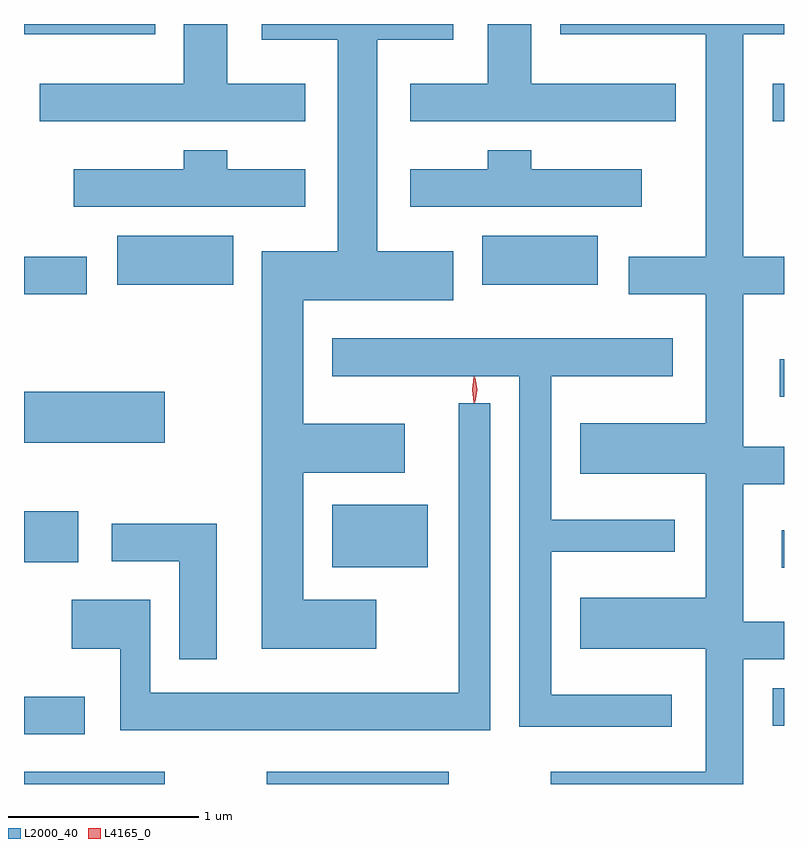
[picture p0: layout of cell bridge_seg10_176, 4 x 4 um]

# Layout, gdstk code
import gdstk
lib = gdstk.Library(unit=1e-6, precision=1e-09)
def R(c, l, rs):  # rectangles x0, y0, x1, y1
    for r in rs: c.add(gdstk.rectangle(r[:2], r[2:], *l))
def P(c, l, *ps):  # polygons
    for p in ps: c.add(gdstk.Polygon(p, *l))
L2000_40 = (2000, 40)
L4165_0 = (4165, 0)

bridge_seg10_176 = lib.new_cell('bridge_seg10_176')
R(bridge_seg10_176, L2000_40, [(1846.544,2140.169,1847.284,2140.234), (1847.821,2140.169,1848.779,2140.234), (1846.544,2140.431,1846.864,2140.629), (1850.486,2140.476,1850.544,2140.674), (1850.531,2141.306,1850.544,2141.504), (1848.166,2141.311,1848.669,2141.639), (1846.544,2141.336,1846.829,2141.604), (1846.544,2141.966,1847.284,2142.234), (1850.521,2142.206,1850.544,2142.404), (1846.544,2142.746,1846.874,2142.944), (1847.036,2142.796,1847.644,2143.054), (1848.956,2142.796,1849.564,2143.054), (1850.486,2143.656,1850.544,2143.854), (1846.544,2144.116,1847.234,2144.169)])
P(bridge_seg10_176, L2000_40, [(1849.366,2144.116),(1850.131,2144.116),(1850.131,2142.944),(1849.726,2142.944),(1849.726,2142.746),(1850.131,2142.746),(1850.131,2142.069),(1849.471,2142.069),(1849.471,2141.801),(1850.131,2141.801),(1850.131,2141.149),(1849.471,2141.149),(1849.471,2140.881),(1850.131,2140.881),(1850.131,2140.234),(1849.316,2140.234),(1849.316,2140.169),(1850.329,2140.169),(1850.329,2140.826),(1850.544,2140.826),(1850.544,2141.024),(1850.329,2141.024),(1850.329,2141.746),(1850.544,2141.746),(1850.544,2141.944),(1850.329,2141.944),(1850.329,2142.746),(1850.544,2142.746),(1850.544,2142.944),(1850.329,2142.944),(1850.329,2144.116),(1850.544,2144.116),(1850.544,2144.169),(1849.366,2144.169)],
  [(1848.399,2141.139),(1848.014,2141.139),(1848.014,2141.806),(1848.549,2141.806),(1848.549,2142.064),(1848.014,2142.064),(1848.014,2142.716),(1848.804,2142.716),(1848.804,2142.974),(1848.404,2142.974),(1848.404,2144.086),(1848.804,2144.086),(1848.804,2144.169),(1847.796,2144.169),(1847.796,2144.086),(1848.196,2144.086),(1848.196,2142.974),(1847.796,2142.974),(1847.796,2140.881),(1848.399,2140.881)],
  [(1849.974,2143.854),(1849.214,2143.854),(1849.214,2144.169),(1848.986,2144.169),(1848.986,2143.854),(1848.576,2143.854),(1848.576,2143.656),(1849.974,2143.656)],
  [(1848.024,2143.854),(1847.614,2143.854),(1847.614,2144.169),(1847.386,2144.169),(1847.386,2143.854),(1846.626,2143.854),(1846.626,2143.656),(1848.024,2143.656)],
  [(1848.024,2143.404),(1847.614,2143.404),(1847.614,2143.504),(1847.386,2143.504),(1847.386,2143.404),(1846.806,2143.404),(1846.806,2143.206),(1848.024,2143.206)],
  [(1849.794,2143.404),(1849.214,2143.404),(1849.214,2143.504),(1848.986,2143.504),(1848.986,2143.404),(1848.576,2143.404),(1848.576,2143.206),(1849.794,2143.206)],
  [(1849.953,2140.639),(1849.319,2140.639),(1849.319,2141.391),(1849.968,2141.391),(1849.968,2141.559),(1849.319,2141.559),(1849.319,2142.316),(1849.959,2142.316),(1849.959,2142.514),(1848.166,2142.514),(1848.166,2142.316),(1849.151,2142.316),(1849.151,2140.471),(1849.953,2140.471)],
  [(1848.999,2142.173),(1848.831,2142.173),(1848.831,2140.649),(1847.209,2140.649),(1847.209,2141.139),(1846.796,2141.139),(1846.796,2140.881),(1847.051,2140.881),(1847.051,2140.451),(1848.999,2140.451)],
  [(1847.559,2141.539),(1847.006,2141.539),(1847.006,2141.341),(1847.361,2141.341),(1847.361,2140.826),(1847.559,2140.826)])
P(bridge_seg10_176, L4165_0, [(1848.913,2142.174),(1848.912,2142.175),(1848.903,2142.244),(1848.912,2142.313),(1848.913,2142.314),(1848.914,2142.313),(1848.923,2142.244),(1848.914,2142.175)],
  [(1848.918,2142.178),(1848.909,2142.244),(1848.919,2142.31),(1848.919,2142.311),(1848.92,2142.31),(1848.929,2142.244),(1848.919,2142.178),(1848.919,2142.178)])

lib.write_gds('bridge_seg10_176.gds')
